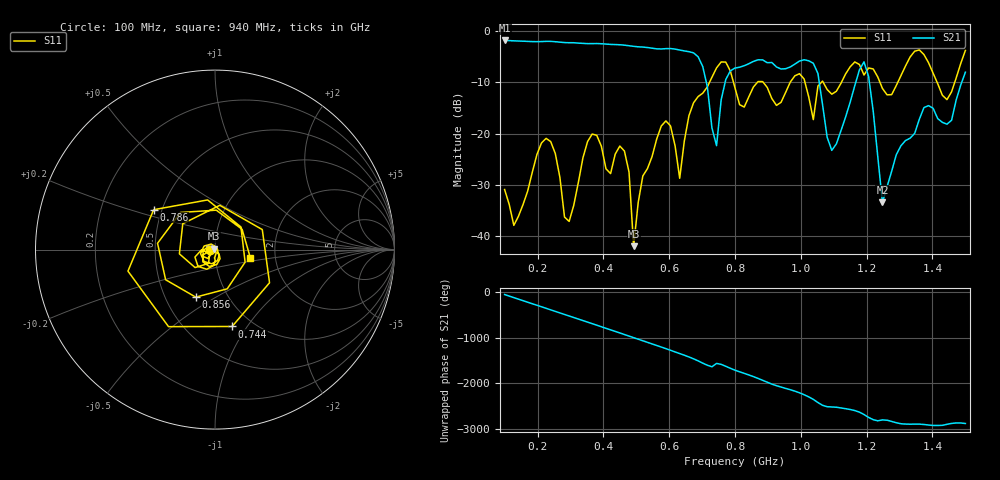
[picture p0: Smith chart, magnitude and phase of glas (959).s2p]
! NanoVNA-App
! Date: 2025-09-25 16:02:56
! Start: 100MHz Stop: 1,5GHz Points: 101
! S-Parameter data: F S11 S21 S12 S22
# Hz S RI R 50
!  Frequency  S11_Real  S11_Imag  S21_Real  S21_Imag  S12_Real  S12_Imag  S22_Real  S22_Imag
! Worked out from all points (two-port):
!   101 points, 100 MHz to 1.5 GHz, reference 50 ohm
!   highest |S21| = -1.80 dB at 100 MHz (marker M1); lowest = -33.4 dB at 1.248 GHz (marker M2)
!   |S21| within 3 dB of the highest: start of sweep to 684.6 MHz
!   lowest |S11| = -42.0 dB at 492 MHz (marker M3), VSWR 1.02, Z = 49.5 + j0.606 ohm
!   |S11| at or under -10 dB: start of sweep to 722.4 MHz; 795.4 MHz to 867.8 MHz (72.37 MHz wide, 8.7 % of centre); 886 MHz to 967.5 MHz (81.53 MHz wide, 8.8 % of centre) (the widest 3 of 7)
!   S12 and S22 are empty: the file has one direction only
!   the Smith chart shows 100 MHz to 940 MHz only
!   S11 on the Smith chart (normalised r, x): 100 MHz: 0.94, -0.01; 744 MHz: 0.81, -0.86; 786 MHz: 0.45, +0.24; 856 MHz: 0.71, -0.41; 940 MHz: 1.48, -0.14
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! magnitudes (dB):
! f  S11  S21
! 100 MHz  -30.9  -1.8
! 128 MHz  -37.9  -1.9
! 226 MHz  -20.9  -2.0
! 296 MHz  -37.1  -2.2
! 338 MHz  -24.7  -2.4
! 464 MHz  -23.4  -2.7
! 492 MHz  -42.0  -2.9
! 576 MHz  -18.5  -3.5
! 632 MHz  -28.7  -3.7
! 702 MHz  -12.1  -6.9
! 744 MHz  -7.2  -22.3
! 786 MHz  -7.8  -7.7
! 800 MHz  -11.1  -7.2
! 856 MHz  -10.9  -5.9
! 940 MHz  -13.9  -7.4
! 996 MHz  -8.3  -5.8
! 1.038 GHz  -17.3  -6.3
! 1.094 GHz  -12.3  -23.3
! 1.192 GHz  -8.5  -6.0
! 1.248 GHz  -11.2  -33.4
! 1.276 GHz  -12.4  -27.3
! 1.5 GHz  -3.8  -8.0
